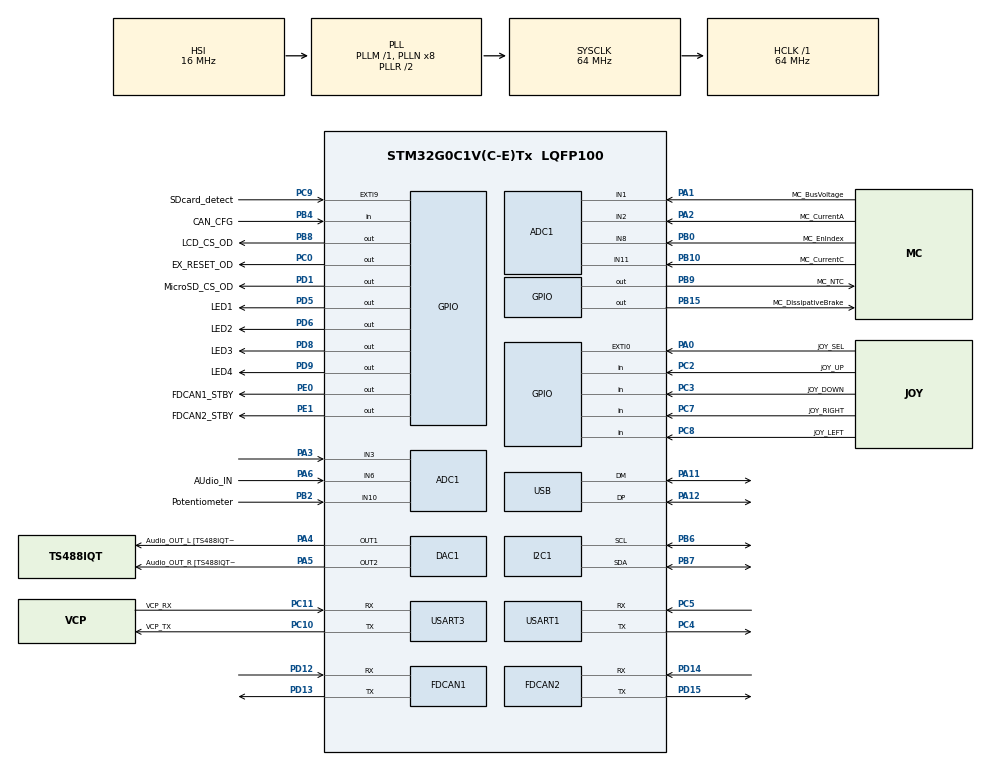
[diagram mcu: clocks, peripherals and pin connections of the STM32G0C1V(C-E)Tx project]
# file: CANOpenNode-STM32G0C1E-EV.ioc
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ADC1.Channel-0\#ChannelRegularConversion=ADC_CHANNEL_1
ADC1.NbrOfConversionFlag=1
ADC1.Rank-0\#ChannelRegularConversion=1
ADC1.SamplingTime-0\#ChannelRegularConversion=ADC_SAMPLINGTIME_COMMON_1
ADC1.SelectedChannel=ADC_CHANNEL_1|ADC_CHANNEL_2|ADC_CHANNEL_3|ADC_CHANNEL_6|ADC_CHANNEL_8|ADC_CHANNEL_10|ADC_CHANNEL_11
ADC1.master=1
DAC1.DAC_Channel-DAC_OUT1=DAC_CHANNEL_1
DAC1.DAC_Channel-DAC_OUT2=DAC_CHANNEL_2
FDCAN1.AutoRetransmission=ENABLE
FDCAN1.CalculateBaudRateNominal=125000
FDCAN1.CalculateTimeBitNominal=8000
FDCAN1.CalculateTimeQuantumNominal=500.0
FDCAN1.ClockDivider=FDCAN_CLOCK_DIV1
FDCAN1.DataPrescaler=16
FDCAN1.DataTimeSeg1=13
FDCAN1.DataTimeSeg2=2
FDCAN1.NominalPrescaler=32
FDCAN1.NominalTimeSeg1=13
FDCAN1.NominalTimeSeg2=2
FDCAN2.CalculateBaudRateNominal=800000
FDCAN2.CalculateTimeBitNominal=1250
FDCAN2.CalculateTimeQuantumNominal=250.0
FDCAN2.ProtocolException=ENABLE
FDCAN2.TransmitPause=ENABLE
I2C1.Timing=0x10707DBC
Mcu.Family=STM32G0
Mcu.Name=STM32G0C1V(C-E)Tx
Mcu.Package=LQFP100
NVIC.TIM16_FDCAN_IT0_IRQn=true\:0\:0\:false\:false\:true\:true\:true\:true
NVIC.TIM17_FDCAN_IT1_IRQn=true\:0\:0\:false\:false\:true\:true\:true\:true
PA0.GPIO_Label=JOY_SEL
PA0.Signal=GPXTI0
PA1.GPIO_Label=MC_BusVoltage
PA1.Mode=IN1
PA1.Signal=ADC1_IN1
PA10.GPIO_Label=MC_WH
PA10.Signal=S_TIM1_CH3
PA11\ [PA9].Mode=Device
PA11\ [PA9].Signal=USB_DM
PA12\ [PA10].Mode=Device
PA12\ [PA10].Signal=USB_DP
PA13.Mode=Serial_Wire
PA13.Signal=SYS_SWDIO
PA14-BOOT0.Mode=Serial_Wire
PA14-BOOT0.Signal=SYS_SWCLK
PA2.GPIO_Label=MC_CurrentA
PA2.Mode=IN2
PA2.Signal=ADC1_IN2
PA3.Mode=IN3
PA3.Signal=ADC1_IN3
PA4.GPIO_Label=Audio_OUT_L [TS488IQT_VIN1]
PA4.Signal=COMP_DAC11_group
PA5.GPIO_Label=Audio_OUT_R [TS488IQT_VIN2]
PA5.Signal=COMP_DAC12_group
PA6.GPIO_Label=AUdio_IN
PA6.Mode=IN6
PA6.Signal=ADC1_IN6
PA7.Signal=SPI1_MOSI
PA8.GPIO_Label=MC_UH
PA8.Signal=S_TIM1_CH1
PA9.GPIO_Label=MC_VH
PA9.Signal=S_TIM1_CH2
PB0.GPIO_Label=MC_EnIndex
PB0.Mode=IN8
PB0.Signal=ADC1_IN8
PB1.GPIO_Label=MC_PFCpwm
PB1.Signal=S_TIM3_CH4
PB10.GPIO_Label=MC_CurrentC
PB10.Mode=IN11
PB10.Signal=ADC1_IN11
PB12.GPIO_Label=MC_EmergencySTOP
PB12.Signal=TIM1_BK
PB15.GPIO_Label=MC_DissipativeBrake
PB15.Signal=GPIO_Output
PB2.GPIO_Label=Potentiometer
PB2.Mode=IN10
PB2.Signal=ADC1_IN10
PB3.Signal=SPI1_SCK
PB4.GPIO_Label=CAN_CFG
PB4.GPIO_PuPd=GPIO_PULLUP
PB4.Signal=GPIO_Input
PB5.GPIO_Label=MC_EnB
PB5.Signal=S_TIM3_CH2
PB6.GPIO_Pu=GPIO_PULLUP
PB6.Mode=I2C
PB6.Signal=I2C1_SCL
PB7.GPIO_Pu=GPIO_PULLUP
PB7.Mode=I2C
PB7.Signal=I2C1_SDA
PB8.GPIO_Label=LCD_CS_OD
PB8.GPIO_ModeDefaultOutputPP=GPIO_MODE_OUTPUT_OD
PB8.Signal=GPIO_Output
PB9.GPIO_Label=MC_NTC
PB9.Signal=GPIO_Output
PC0.GPIO_Label=EX_RESET_OD
PC0.GPIO_ModeDefaultOutputPP=GPIO_MODE_OUTPUT_OD
PC0.Signal=GPIO_Output
PC1.GPIO_Label=MC_PFCsync1
PC1.Signal=LPTIM1_OUT
PC10.GPIO_Label=VCP_TX
PC10.Mode=Asynchronous
PC10.Signal=USART3_TX
PC11.GPIO_Label=VCP_RX
PC11.Mode=Asynchronous
PC11.Signal=USART3_RX
PC13.GPIO_Label=Tamper_key
PC13.Signal=RTC_TAMP_IN1
PC14-OSC32_IN\ (PC14).Mode=LSE-External-Oscillator
PC14-OSC32_IN\ (PC14).Signal=RCC_OSC32_IN
PC15-OSC32_OUT\ (PC15).Mode=LSE-External-Oscillator
PC15-OSC32_OUT\ (PC15).Signal=RCC_OSC32_OUT
PC2.GPIO_Label=JOY_UP
PC2.Signal=GPIO_Input
PC3.GPIO_Label=JOY_DOWN
PC3.Signal=GPIO_Input
PC4.Mode=Asynchronous
PC4.Signal=USART1_TX
PC5.Mode=Asynchronous
PC5.Signal=USART1_RX
PC6.GPIO_Label=MC_EnA
PC6.Signal=S_TIM3_CH1
PC7.GPIO_Label=JOY_RIGHT
PC7.Signal=GPIO_Input
PC8.GPIO_Label=JOY_LEFT
PC8.Signal=GPIO_Input
PC9.GPIO_Label=SDcard_detect
PC9.Signal=GPXTI9
PD0.GPIO_Label=MC_PFCsync2
PD0.Signal=S_TIM16_CH1
PD1.GPIO_Label=MicroSD_CS_OD
PD1.GPIO_ModeDefaultOutputPP=GPIO_MODE_OUTPUT_OD
PD1.Signal=GPIO_Output
PD12.Mode=FDCAN_Activate
PD12.Signal=FDCAN1_RX
PD13.Mode=FDCAN_Activate
PD13.Signal=FDCAN1_TX
PD14.Mode=FDCAN_Activate
PD14.Signal=FDCAN2_RX
PD15.Mode=FDCAN_Activate
PD15.Signal=FDCAN2_TX
PD2.GPIO_Label=MC_UL
PD2.Signal=TIM1_CH1N
PD3.GPIO_Label=MC_VL
PD3.Signal=TIM1_CH2N
PD4.GPIO_Label=MC_WL
PD4.Signal=TIM1_CH3N
PD5.GPIO_Label=LED1
PD5.Signal=GPIO_Output
PD6.GPIO_Label=LED2
PD6.Signal=GPIO_Output
PD8.GPIO_Label=LED3
PD8.Signal=GPIO_Output
PD9.GPIO_Label=LED4
PD9.Signal=GPIO_Output
PE0.GPIO_Label=FDCAN1_STBY
PE0.Signal=GPIO_Output
PE1.GPIO_Label=FDCAN2_STBY
PE1.Signal=GPIO_Output
PF0-OSC_IN\ (PF0).Mode=HSE-External-Oscillator
PF0-OSC_IN\ (PF0).Signal=RCC_OSC_IN
PF1-OSC_OUT\ (PF1).Mode=HSE-External-Oscillator
PF1-OSC_OUT\ (PF1).Signal=RCC_OSC_OUT
ProjectManager.HeapSize=0x200
ProjectManager.StackSize=0x400
ProjectManager.TargetToolchain=STM32CubeIDE
RCC.ADCFreq_Value=64000000
RCC.AHBFreq_Value=64000000
RCC.CortexFreq_Value=64000000
RCC.EXTERNAL_CLOCK_VALUE=48000
RCC.HCLKFreq_Value=64000000
RCC.HSE_VALUE=8000000
RCC.HSI48_VALUE=48000000
RCC.HSI_VALUE=16000000
RCC.SYSCLKFreq_VALUE=64000000
RCC.SYSCLKSource=RCC_SYSCLKSOURCE_PLLCLK
RCC.USBFreq_Value=48000000
RCC.VCOOutputFreq_Value=128000000
SH.COMP_DAC11_group.0=DAC1_OUT1,DAC_OUT1
SH.COMP_DAC12_group.0=DAC1_OUT2,DAC_OUT2
SH.S_TIM16_CH1.0=TIM16_CH1
SH.S_TIM1_CH1.0=TIM1_CH1
SH.S_TIM1_CH2.0=TIM1_CH2
SH.S_TIM1_CH3.0=TIM1_CH3
SH.S_TIM3_CH1.0=TIM3_CH1
SH.S_TIM3_CH2.0=TIM3_CH2
SH.S_TIM3_CH4.0=TIM3_CH4
TIM17.Period=999
TIM17.Prescaler=63
USART1.VirtualMode-Asynchronous=VM_ASYNC
USART3.VirtualMode-Asynchronous=VM_ASYNC
USART3.WordLength=WORDLENGTH_7B
VP_SYS_VS_DBSignals.Mode=DisableDeadBatterySignals
VP_TIM17_VS_ClockSourceINT.Mode=Enable_Timer
board=STM32G0C1E-EV

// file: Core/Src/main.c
/* USER CODE BEGIN Header */
/**
  ******************************************************************************
  * @file           : main.c
  * @brief          : Main program body
  ******************************************************************************
  * @attention
  *
  * Copyright (c) 2022 STMicroelectronics.
  * All rights reserved.
  *
  * This software is licensed under terms that can be found in the LICENSE file
  * in the root directory of this software component.
  * If no LICENSE file comes with this software, it is provided AS-IS.
  *
  ******************************************************************************
  */
/* USER CODE END Header */
#include "main.h"
#include "adc.h"
#include "dac.h"
#include "fdcan.h"
#include "i2c.h"
#include "tim.h"
#include "usart.h"
#include "usb_drd_fs.h"
#include "gpio.h"

/* USER CODE BEGIN Includes */
#include "CO_app_STM32.h"
/* USER CODE END Includes */

void SystemClock_Config(void);

/* USER CODE BEGIN 0 */
/* Timer interrupt function executes every 1 ms */
void
HAL_TIM_PeriodElapsedCallback(TIM_HandleTypeDef* htim) {
    if (htim == canopenNodeSTM32->timerHandle) {
        canopen_app_interrupt();
    }
}
/* USER CODE END 0 */

int main(void)
{

  /* MCU Configuration--------------------------------------------------------*/

  /* Reset of all peripherals, Initializes the Flash interface and the Systick. */
  HAL_Init();

  /* Configure the system clock */
  SystemClock_Config();

  /* Initialize all configured peripherals */
  MX_GPIO_Init();
  MX_ADC1_Init();
  MX_DAC1_Init();
  MX_FDCAN1_Init();
  MX_FDCAN2_Init();
  MX_I2C1_Init();
  MX_USART1_UART_Init();
  MX_USART3_UART_Init();
  MX_USB_DRD_FS_PCD_Init();
  MX_TIM17_Init();
  /* USER CODE BEGIN 2 */

  CANopenNodeSTM32 canOpenNodeSTM32;
  canOpenNodeSTM32.CANHandle = &hfdcan1;
  canOpenNodeSTM32.HWInitFunction = MX_FDCAN1_Init;
  canOpenNodeSTM32.timerHandle = &htim17;
  canOpenNodeSTM32.desiredNodeID = 21;
  canOpenNodeSTM32.baudrate = 125;
  canopen_app_init(&canOpenNodeSTM32);
  /* USER CODE END 2 */

  /* Infinite loop */
  /* USER CODE BEGIN WHILE */
  while (1)
  {
	  //Reflect CANopenStatus on LEDs
	  HAL_GPIO_WritePin(LED1_GPIO_Port, LED1_Pin, !canOpenNodeSTM32.outStatusLEDGreen);
	  HAL_GPIO_WritePin(LED2_GPIO_Port, LED2_Pin, !canOpenNodeSTM32.outStatusLEDRed);

	  canopen_app_process();
    /* USER CODE END WHILE */

  }
}

void SystemClock_Config(void)
{
  RCC_OscInitTypeDef RCC_OscInitStruct = {0};
  RCC_ClkInitTypeDef RCC_ClkInitStruct = {0};

  /** Configure the main internal regulator output voltage
  */
  HAL_PWREx_ControlVoltageScaling(PWR_REGULATOR_VOLTAGE_SCALE1);

  /** Initializes the RCC Oscillators according to the specified parameters
  * in the RCC_OscInitTypeDef structure.
  */
  RCC_OscInitStruct.OscillatorType = RCC_OSCILLATORTYPE_HSI|RCC_OSCILLATORTYPE_HSI48;
  RCC_OscInitStruct.HSIState = RCC_HSI_ON;
  RCC_OscInitStruct.HSI48State = RCC_HSI48_ON;
  RCC_OscInitStruct.HSIDiv = RCC_HSI_DIV1;
  RCC_OscInitStruct.HSICalibrationValue = RCC_HSICALIBRATION_DEFAULT;
  RCC_OscInitStruct.PLL.PLLState = RCC_PLL_ON;
  RCC_OscInitStruct.PLL.PLLSource = RCC_PLLSOURCE_HSI;
  RCC_OscInitStruct.PLL.PLLM = RCC_PLLM_DIV1;
  RCC_OscInitStruct.PLL.PLLN = 8;
  RCC_OscInitStruct.PLL.PLLP = RCC_PLLP_DIV2;
  RCC_OscInitStruct.PLL.PLLQ = RCC_PLLQ_DIV2;
  RCC_OscInitStruct.PLL.PLLR = RCC_PLLR_DIV2;
  if (HAL_RCC_OscConfig(&RCC_OscInitStruct) != HAL_OK)
  {
    Error_Handler();
  }

  /** Initializes the CPU, AHB and APB buses clocks
  */
  RCC_ClkInitStruct.ClockType = RCC_CLOCKTYPE_HCLK|RCC_CLOCKTYPE_SYSCLK
                              |RCC_CLOCKTYPE_PCLK1;
  RCC_ClkInitStruct.SYSCLKSource = RCC_SYSCLKSOURCE_PLLCLK;
  RCC_ClkInitStruct.AHBCLKDivider = RCC_SYSCLK_DIV1;
  RCC_ClkInitStruct.APB1CLKDivider = RCC_HCLK_DIV1;

  if (HAL_RCC_ClockConfig(&RCC_ClkInitStruct, FLASH_LATENCY_2) != HAL_OK)
  {
    Error_Handler();
  }
}

void Error_Handler(void)
{
  __disable_irq();
  while (1)
  {
  }
}
